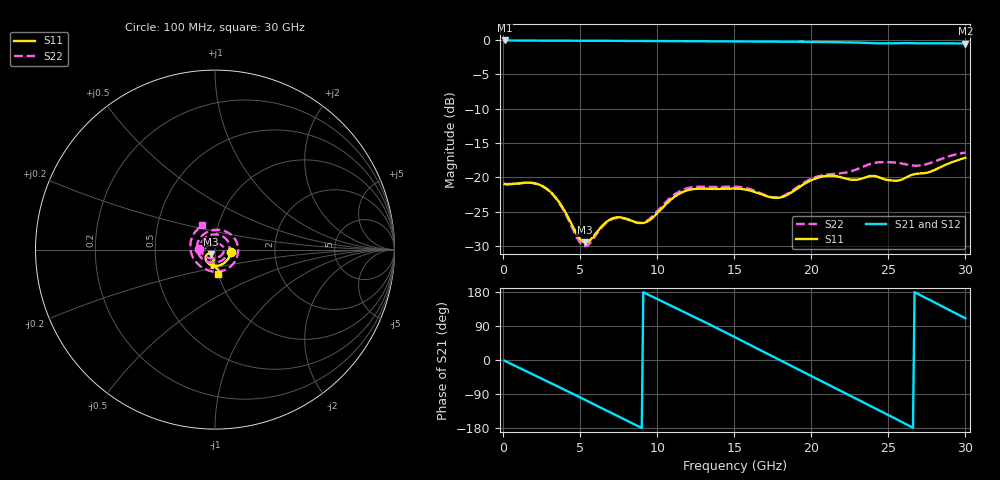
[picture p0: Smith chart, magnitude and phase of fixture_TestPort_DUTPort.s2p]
# Hz S MA R 50.0
!freq magS11 angS11 magS21 angS21 magS12 angS12 magS22 angS22
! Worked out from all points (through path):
!   300 points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, 100 MHz to 30 GHz, reference 50 ohm
!   highest |S21| = -0.04 dB at 100 MHz (marker M1); lowest = -0.5 dB at 30 GHz (marker M2)
!   group delay of S21, straight-line fit = 56.5 ps
!   lowest |S11| = -29.5 dB at 5.3 GHz (marker M3), VSWR 1.07, Z = 47.8 - j2.4 ohm
!   |S11| at or under -10 dB: start of sweep to end of sweep
!   |S22| runs from -30.0 to -16.4 dB; largest |S21 - S12| = 9.8e-16
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1e8  0.08971 -7.0  0.9956 -2.0  0.9956 -2.0  0.08934 179.6
1.4e9  0.09135 -69.1  0.9932 -27.3  0.9932 -27.3  0.09135 -165.0
2.9e9  0.0815 -124.1  0.9916 -56.7  0.9916 -56.7  0.08112 -169.2
5.1e9  0.03448 -137.8  0.9916 -100.8  0.9916 -100.8  0.03235 115.0
5.3e9  0.03357 -131.6  0.9914 -104.9  0.9914 -104.9  0.03151 99.8
7.8e9  0.05069 -119.2  0.9886 -155.5  0.9886 -155.5  0.05022 -14.7
8.9e9  0.0464 -113.1  0.9879 -177.3  0.9879 -177.3  0.04657 -65.1
1.01e10  0.05623 -98.5  0.9861 159.2  0.9861 159.2  0.0582 -126.0
1.15e10  0.07676 -101.7  0.9831 131.8  0.9831 131.8  0.07963 -176.3
1.28e10  0.08276 -109.4  0.9807 106.0  0.9807 106.0  0.08558 139.9
1.39e10  0.08237 -111.7  0.9791 83.8  0.9791 83.8  0.08515 97.3
1.51e10  0.08293 -113.0  0.9777 59.2  0.9777 59.2  0.08555 49.1
1.64e10  0.07776 -114.1  0.9771 32.2  0.9771 32.2  0.07934 -3.5
1.76e10  0.07099 -106.7  0.9766 7.2  0.9766 7.2  0.07128 -61.3
1.88e10  0.0789 -95.0  0.9752 -17.6  0.9752 -17.6  0.08056 -123.2
2.01e10  0.09641 -94.4  0.9716 -44.3  0.9716 -44.3  0.09886 -176.3
2.14e10  0.1027 -99.8  0.9673 -70.9  0.9673 -70.9  0.1058 135.4
2.26e10  0.09621 -99.5  0.9633 -95.7  0.9633 -95.7  0.1109 85.3
2.51e10  0.09518 -94.5  0.9497 -147.3  0.9497 -147.3  0.1289 -28.5
2.63e10  0.1018 -85.8  0.9509 -172.6  0.9509 -172.6  0.1234 -85.8
2.75e10  0.1081 -83.4  0.9487 162.4  0.9487 162.4  0.125 -140.2
3e10  0.139 -82.3  0.9451 110.0  0.9451 110.0  0.1516 117.5
